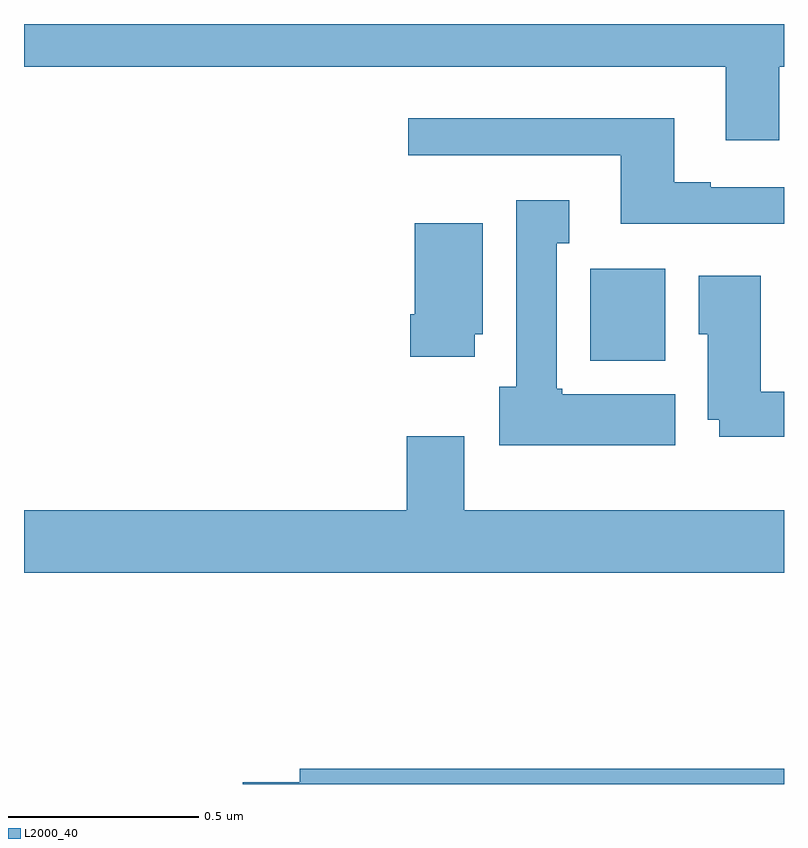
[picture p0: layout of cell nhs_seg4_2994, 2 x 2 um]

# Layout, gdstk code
import gdstk
lib = gdstk.Library(unit=1e-6, precision=1e-09)
def R(c, l, rs):  # rectangles x0, y0, x1, y1
    for r in rs: c.add(gdstk.rectangle(r[:2], r[2:], *l))
def P(c, l, *ps):  # polygons
    for p in ps: c.add(gdstk.Polygon(p, *l))
L2000_40 = (2000, 40)

nhs_seg4_2994 = lib.new_cell('nhs_seg4_2994')
R(nhs_seg4_2994, L2000_40, [(148.49,828.014,148.687,828.256)])
P(nhs_seg4_2994, L2000_40, [(148.987,828.788),(149,828.788),(149,828.9),(147,828.9),(147,828.788),(148.847,828.788),(148.847,828.594),(148.987,828.594)],
  [(149,828.471),(148.807,828.471),(148.807,828.484),(148.711,828.484),(148.711,828.652),(148.011,828.652),(148.011,828.555),(148.571,828.555),(148.571,828.374),(149,828.374)],
  [(148.714,827.926),(148.416,827.926),(148.416,827.94),(148.402,827.94),(148.402,828.323),(148.435,828.323),(148.435,828.436),(148.295,828.436),(148.295,827.946),(148.25,827.946),(148.25,827.792),(148.714,827.792)],
  [(148.186,828.084),(148.207,828.084),(148.207,828.376),(148.028,828.376),(148.028,828.136),(148.016,828.136),(148.016,828.024),(148.186,828.024)],
  [(149,827.932),(148.939,827.932),(148.939,828.238),(148.775,828.238),(148.775,828.084),(148.799,828.084),(148.799,827.858),(148.829,827.858),(148.829,827.814),(149,827.814)],
  [(149,827.62),(148.159,827.62),(148.159,827.815),(148.007,827.815),(148.007,827.62),(147,827.62),(147,827.456),(149,827.456)],
  [(149,826.94),(147.725,826.94),(147.725,826.904),(147.576,826.904),(147.576,826.9),(149,826.9)])

lib.write_gds('nhs_seg4_2994.gds')
